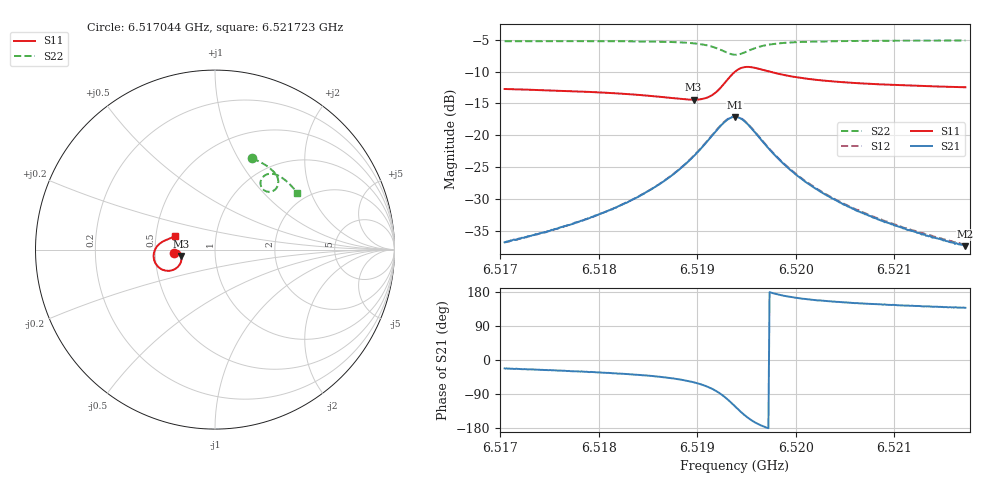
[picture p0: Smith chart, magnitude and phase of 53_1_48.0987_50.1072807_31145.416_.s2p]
#  HZ  S  RI  R  50.00
! Rohde & Schwarz Vector Network Analyzer
! Rohde-Schwarz,ZNB20-2Port,1311601062101988,3.16
! Created: UTC 12/23/2023, 3:39:59 AM
! freq[Hz]  re:S11  im:S11  re:S21  im:S21  re:S12  im:S12  re:S22  im:S22
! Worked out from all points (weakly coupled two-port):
!   401 points, 6.517044 GHz to 6.521723 GHz, reference 50 ohm
!   highest |S21| = -17.12 dB at 6.519383 GHz (marker M1); lowest = -37.5 dB at 6.521723 GHz (marker M2)
!   lowest |S11| = -14.4 dB at 6.518962 GHz (marker M3), VSWR 1.47, Z = 34.2 - j2.46 ohm
!   |S11| at or under -10 dB: start of sweep to 6.519384 GHz; 6.519733 GHz to end of sweep
!   |S22| runs from -7.3 to -5.1 dB; largest |S21 - S12| = 0.0043
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6.5170438e9  -0.2303 -0.0163  0.0133 -0.00539  0.0135 -0.00509  0.2068 0.508
6.5174415e9  -0.2259 -0.0106  0.0153 -0.00762  0.0157 -0.00709  0.2363 0.4954
6.5178275e9  -0.2201 -0.00623  0.0184 -0.0107  0.0186 -0.0103  0.2649 0.4808
6.5183071e9  -0.21 -0.00463  0.0239 -0.0183  0.0246 -0.0176  0.3009 0.4574
6.5186112e9  -0.2006 -0.00929  0.0294 -0.0285  0.0303 -0.0276  0.3246 0.4365
6.51881e9  -0.1927 -0.0191  0.0336 -0.0412  0.0349 -0.0404  0.3401 0.4172
6.5189621e9  -0.187 -0.0348  0.0354 -0.0583  0.0375 -0.0574  0.3501 0.3955
6.5190791e9  -0.1867 -0.0563  0.0319 -0.079  0.0346 -0.0787  0.3527 0.3721
6.5191609e9  -0.194 -0.0782  0.0221 -0.0989  0.0253 -0.0991  0.3474 0.3516
6.5192896e9  -0.2375 -0.1145  -0.0224 -0.1275  -0.0188 -0.1292  0.3135 0.323
6.5193364e9  -0.2657 -0.1181  -0.0483 -0.1279  -0.0449 -0.1304  0.2929 0.3226
6.5193832e9  -0.2959 -0.1104  -0.0745 -0.1178  -0.0716 -0.1208  0.2732 0.3311
6.51943e9  -0.3211 -0.0915  -0.0948 -0.0985  -0.0926 -0.1019  0.2591 0.3477
6.5194885e9  -0.3386 -0.0595  -0.1069 -0.0689  -0.1056 -0.0724  0.2535 0.3721
6.519582e9  -0.3388 -0.0135  -0.102 -0.0293  -0.102 -0.0325  0.2658 0.403
6.5196873e9  -0.3228 0.0182  -0.0847 -0.00469  -0.0853 -0.00723  0.2888 0.4187
6.5198978e9  -0.2924 0.0441  -0.0562 0.0113  -0.0572 0.00977  0.3271 0.4212
6.5201669e9  -0.2692 0.0547  -0.0369 0.0142  -0.0379 0.0133  0.3593 0.4092
6.5205061e9  -0.2528 0.0614  -0.0248 0.0133  -0.0254 0.0127  0.3879 0.3899
6.5209506e9  -0.2398 0.0679  -0.0167 0.0114  -0.0173 0.0111  0.4169 0.3636
6.5214184e9  -0.2302 0.0743  -0.0121 0.00983  -0.0125 0.00972  0.4426 0.3352
6.5217225e9  -0.2249 0.0784  -0.00992 0.009  -0.0105 0.00903  0.4574 0.3163
